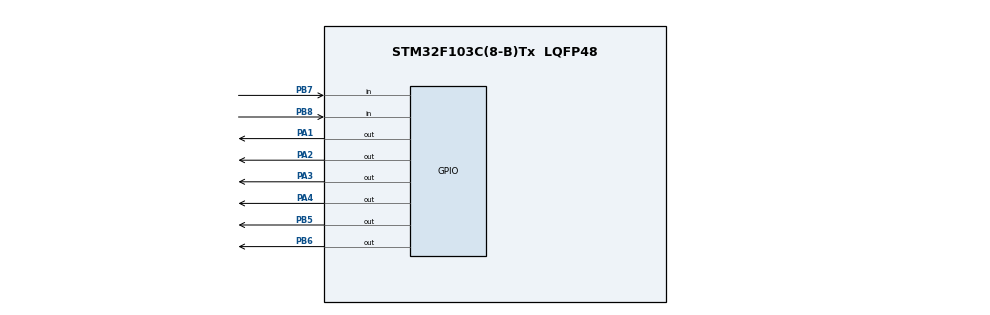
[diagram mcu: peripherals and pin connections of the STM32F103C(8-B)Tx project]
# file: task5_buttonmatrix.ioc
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Mcu.Family=STM32F1
Mcu.Name=STM32F103C(8-B)Tx
Mcu.Package=LQFP48
NVIC.PriorityGroup=NVIC_PRIORITYGROUP_4
PA1.Signal=GPIO_Output
PA13.Mode=Serial_Wire
PA13.Signal=SYS_JTMS-SWDIO
PA14.Mode=Serial_Wire
PA14.Signal=SYS_JTCK-SWCLK
PA2.Signal=GPIO_Output
PA3.Signal=GPIO_Output
PA4.Signal=GPIO_Output
PB5.Signal=GPIO_Output
PB6.Signal=GPIO_Output
PB7.GPIO_PuPd=GPIO_PULLUP
PB7.Signal=GPIO_Input
PB8.GPIO_PuPd=GPIO_PULLUP
PB8.Signal=GPIO_Input
ProjectManager.HeapSize=0x200
ProjectManager.StackSize=0x400
ProjectManager.TargetToolchain=CMake
RCC.APB1Freq_Value=8000000
RCC.APB2Freq_Value=8000000
board=custom

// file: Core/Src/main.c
/* USER CODE BEGIN Header */
/**
  ******************************************************************************
  * @file           : main.c
  * @brief          : Main program body
  ******************************************************************************
  * @attention
  *
  * Copyright (c) 2026 STMicroelectronics.
  * All rights reserved.
  *
  * This software is licensed under terms that can be found in the LICENSE file
  * in the root directory of this software component.
  * If no LICENSE file comes with this software, it is provided AS-IS.
  *
  ******************************************************************************
  */
/* USER CODE END Header */
#include "main.h"

/* USER CODE BEGIN PV */
// Assign pins to their matrix indices
uint16_t LED_PINS[4] = {GPIO_PIN_1, GPIO_PIN_2, GPIO_PIN_3, GPIO_PIN_4};
uint16_t ROW_PINS[2] = {GPIO_PIN_5, GPIO_PIN_6};
uint16_t COL_PINS[2] = {GPIO_PIN_7, GPIO_PIN_8};
/* USER CODE END PV */

void SystemClock_Config(void);
static void MX_GPIO_Init(void);
/* USER CODE BEGIN PFP */
// Prototypes of scanning function
uint8_t KEYPAD_2x2_Scan(void);
/* USER CODE END PFP */

int main(void)
{

  /* MCU Configuration--------------------------------------------------------*/

  /* Reset of all peripherals, Initializes the Flash interface and the Systick. */
  HAL_Init();

  /* Configure the system clock */
  SystemClock_Config();

  /* Initialize all configured peripherals */
  MX_GPIO_Init();

  /* Infinite loop */
  /* USER CODE BEGIN WHILE */
  while (1)
  {
    uint8_t key_pressed = KEYPAD_2x2_Scan();

    // If a key is pressed, toggle its corresponding LED
    if (key_pressed != 0) {
        HAL_GPIO_TogglePin(GPIOA, LED_PINS[key_pressed - 1]);
    }
    /* USER CODE END WHILE */

  }
}

void SystemClock_Config(void)
{
  RCC_OscInitTypeDef RCC_OscInitStruct = {0};
  RCC_ClkInitTypeDef RCC_ClkInitStruct = {0};

  /** Initializes the RCC Oscillators according to the specified parameters
  * in the RCC_OscInitTypeDef structure.
  */
  RCC_OscInitStruct.OscillatorType = RCC_OSCILLATORTYPE_HSI;
  RCC_OscInitStruct.HSIState = RCC_HSI_ON;
  RCC_OscInitStruct.HSICalibrationValue = RCC_HSICALIBRATION_DEFAULT;
  RCC_OscInitStruct.PLL.PLLState = RCC_PLL_NONE;
  if (HAL_RCC_OscConfig(&RCC_OscInitStruct) != HAL_OK)
  {
    Error_Handler();
  }

  /** Initializes the CPU, AHB and APB buses clocks
  */
  RCC_ClkInitStruct.ClockType = RCC_CLOCKTYPE_HCLK|RCC_CLOCKTYPE_SYSCLK
                              |RCC_CLOCKTYPE_PCLK1|RCC_CLOCKTYPE_PCLK2;
  RCC_ClkInitStruct.SYSCLKSource = RCC_SYSCLKSOURCE_HSI;
  RCC_ClkInitStruct.AHBCLKDivider = RCC_SYSCLK_DIV1;
  RCC_ClkInitStruct.APB1CLKDivider = RCC_HCLK_DIV1;
  RCC_ClkInitStruct.APB2CLKDivider = RCC_HCLK_DIV1;

  if (HAL_RCC_ClockConfig(&RCC_ClkInitStruct, FLASH_LATENCY_0) != HAL_OK)
  {
    Error_Handler();
  }
}

static void MX_GPIO_Init(void)
{
  GPIO_InitTypeDef GPIO_InitStruct = {0};

  /* GPIO Ports Clock Enable */
  __HAL_RCC_GPIOA_CLK_ENABLE();
  __HAL_RCC_GPIOB_CLK_ENABLE();

  /*Configure GPIO pin Output Level */
  HAL_GPIO_WritePin(GPIOA, GPIO_PIN_1|GPIO_PIN_2|GPIO_PIN_3|GPIO_PIN_4, GPIO_PIN_RESET);

  /*Configure GPIO pin Output Level */
  HAL_GPIO_WritePin(GPIOB, GPIO_PIN_5|GPIO_PIN_6, GPIO_PIN_RESET);

  /*Configure GPIO pins : PA1 PA2 PA3 PA4 */
  GPIO_InitStruct.Pin = GPIO_PIN_1|GPIO_PIN_2|GPIO_PIN_3|GPIO_PIN_4;
  GPIO_InitStruct.Mode = GPIO_MODE_OUTPUT_PP;
  GPIO_InitStruct.Pull = GPIO_NOPULL;
  GPIO_InitStruct.Speed = GPIO_SPEED_FREQ_LOW;
  HAL_GPIO_Init(GPIOA, &GPIO_InitStruct);

  /*Configure GPIO pins : PB5 PB6 */
  GPIO_InitStruct.Pin = GPIO_PIN_5|GPIO_PIN_6;
  GPIO_InitStruct.Mode = GPIO_MODE_OUTPUT_PP;
  GPIO_InitStruct.Pull = GPIO_NOPULL;
  GPIO_InitStruct.Speed = GPIO_SPEED_FREQ_LOW;
  HAL_GPIO_Init(GPIOB, &GPIO_InitStruct);

  /*Configure GPIO pins : PB7 PB8 */
  GPIO_InitStruct.Pin = GPIO_PIN_7|GPIO_PIN_8;
  GPIO_InitStruct.Mode = GPIO_MODE_INPUT;
  GPIO_InitStruct.Pull = GPIO_PULLUP;
  HAL_GPIO_Init(GPIOB, &GPIO_InitStruct);

}

/* USER CODE BEGIN 4 */
uint8_t KEYPAD_2x2_Scan(void){
    for (uint8_t r = 0; r < 2; r++){
        // Assign one row as Logic 0 at one time, the others are Logic 1
        for (uint8_t i = 0; i < 2; i++){
            HAL_GPIO_WritePin(GPIOB, ROW_PINS[i], (i == r)?GPIO_PIN_RESET:GPIO_PIN_SET);
        }
        HAL_Delay(1);

        // Scan each columns to see if any receive Logic 0
        // If yes -> wait for 20ms -> check back (debounce) -> return index
        // If no -> ignore
        for (uint8_t c = 0; c < 2; c++){
            if (HAL_GPIO_ReadPin(GPIOB, COL_PINS[c]) == GPIO_PIN_RESET){
                HAL_Delay(20);

                if (HAL_GPIO_ReadPin(GPIOB, COL_PINS[c]) == GPIO_PIN_RESET) {
                    while(HAL_GPIO_ReadPin(GPIOB, COL_PINS[c]) == GPIO_PIN_RESET);
                    return (r * 2 + c) + 1;
                }
            }
        }
    }
    return 0;
}
/* USER CODE END 4 */

void Error_Handler(void)
{
  __disable_irq();
  while (1)
  {
  }
}
